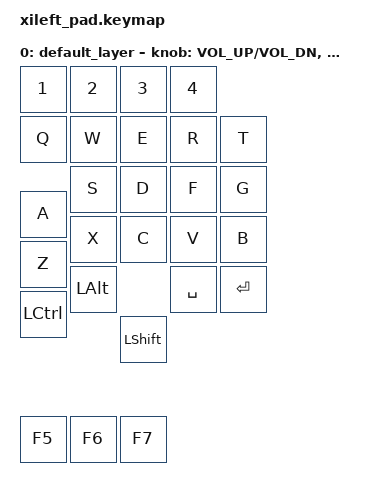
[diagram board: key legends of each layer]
/*
 * Copyright (c) 2026 Xiphelier
 * SPDX-License-Identifier: MIT
 *
 * シールド側のデフォルトキーマップ。
 *
 * ★ このリポジトリで実際に使われるのは config/xileft_pad.keymap です。
 *   そちらが存在する限り、このファイルの内容はビルドに反映されません。
 *   ここはシールド定義単体でもビルドが通ることを保証するための最小構成です。
 */

#include <behaviors.dtsi>
#include <dt-bindings/zmk/keys.h>
#include <dt-bindings/zmk/bt.h>

/ {
    keymap {
        compatible = "zmk,keymap";

        default_layer {
            bindings = <
                &kp N1  &kp N2  &kp N3  &kp N4                      // row 0
                &kp Q   &kp W   &kp E   &kp R   &kp T               // row 1
                &kp A   &kp S   &kp D   &kp F   &kp G               // row 2
                &kp Z   &kp X   &kp C   &kp V   &kp B               // row 3
                &kp LCTRL &kp LALT &kp LSHFT &kp SPACE &kp ENTER    // row 4
                &kp F5  &kp F6  &kp F7                              // levers
            >;

            sensor-bindings = <
                &inc_dec_kp C_VOL_UP C_VOL_DN
                &inc_dec_kp PG_UP PG_DN
                &inc_dec_kp RIGHT LEFT
            >;
        };
    };
};
